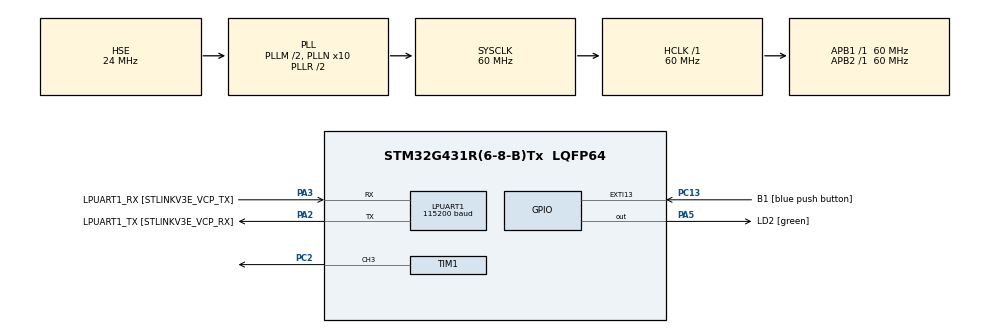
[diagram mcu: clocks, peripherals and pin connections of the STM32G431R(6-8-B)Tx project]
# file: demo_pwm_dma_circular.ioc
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Dma.Request0=TIM1_CH3
Dma.TIM1_CH3.0.Direction=DMA_MEMORY_TO_PERIPH
Dma.TIM1_CH3.0.EventEnable=DISABLE
Dma.TIM1_CH3.0.Instance=DMA1_Channel1
Dma.TIM1_CH3.0.MemDataAlignment=DMA_MDATAALIGN_BYTE
Dma.TIM1_CH3.0.MemInc=DMA_MINC_ENABLE
Dma.TIM1_CH3.0.Mode=DMA_CIRCULAR
Dma.TIM1_CH3.0.PeriphDataAlignment=DMA_PDATAALIGN_HALFWORD
Dma.TIM1_CH3.0.PeriphInc=DMA_PINC_DISABLE
Dma.TIM1_CH3.0.Polarity=HAL_DMAMUX_REQ_GEN_RISING
Dma.TIM1_CH3.0.Priority=DMA_PRIORITY_LOW
Dma.TIM1_CH3.0.RequestNumber=1
Dma.TIM1_CH3.0.SignalID=NONE
Dma.TIM1_CH3.0.SyncEnable=DISABLE
Dma.TIM1_CH3.0.SyncPolarity=HAL_DMAMUX_SYNC_NO_EVENT
Dma.TIM1_CH3.0.SyncRequestNumber=1
Dma.TIM1_CH3.0.SyncSignalID=NONE
FREERTOS.Tasks01=defaultTask,24,128,StartDefaultTask,Default,NULL,Dynamic,NULL,NULL;pwmLEDTask,8,128,pwmLedTask,Default,NULL,Dynamic,NULL,NULL
FREERTOS.configUSE_NEWLIB_REENTRANT=1
LPUART1.BaudRate=115200
LPUART1.WordLength=UART_WORDLENGTH_8B
Mcu.Family=STM32G4
Mcu.Name=STM32G431R(6-8-B)Tx
Mcu.Package=LQFP64
NVIC.DMA1_Channel1_IRQn=true\:5\:0\:false\:false\:true\:true\:false\:true
NVIC.EXTI15_10_IRQn=true\:5\:0\:false\:false\:true\:true\:true\:true
NVIC.PriorityGroup=NVIC_PRIORITYGROUP_4
NVIC.TIM6_DAC_IRQn=true\:15\:0\:false\:false\:true\:false\:false\:true
NVIC.TimeBase=TIM6_DAC_IRQn
NVIC.TimeBaseIP=TIM6
PA13.GPIO_Label=T_SWDIO
PA13.Mode=Serial_Wire
PA13.Signal=SYS_JTMS-SWDIO
PA14.GPIO_Label=T_SWCLK
PA14.Mode=Serial_Wire
PA14.Signal=SYS_JTCK-SWCLK
PA2.GPIO_Label=LPUART1_TX [STLINKV3E_VCP_RX]
PA2.Mode=Asynchronous
PA2.Signal=LPUART1_TX
PA3.GPIO_Label=LPUART1_RX [STLINKV3E_VCP_TX]
PA3.Mode=Asynchronous
PA3.Signal=LPUART1_RX
PA5.GPIO_Label=LD2 [green]
PA5.Signal=GPIO_Output
PB3.GPIO_Label=T_SWO
PB3.Signal=SYS_JTDO-SWO
PC13.GPIO_Label=B1 [blue push button]
PC13.Signal=GPXTI13
PC14-OSC32_IN.Mode=LSE-External-Oscillator
PC14-OSC32_IN.Signal=RCC_OSC32_IN
PC15-OSC32_OUT.Mode=LSE-External-Oscillator
PC15-OSC32_OUT.Signal=RCC_OSC32_OUT
PC2.Signal=S_TIM1_CH3
PF0-OSC_IN.Mode=HSE-External-Oscillator
PF0-OSC_IN.Signal=RCC_OSC_IN
PF1-OSC_OUT.Mode=HSE-External-Oscillator
PF1-OSC_OUT.Signal=RCC_OSC_OUT
ProjectManager.HeapSize=0x200
ProjectManager.StackSize=0x400
ProjectManager.TargetToolchain=STM32CubeIDE
RCC.ADC12Freq_Value=60000000
RCC.AHBFreq_Value=60000000
RCC.APB1Freq_Value=60000000
RCC.APB1TimFreq_Value=60000000
RCC.APB2Freq_Value=60000000
RCC.APB2TimFreq_Value=60000000
RCC.CortexFreq_Value=60000000
RCC.EXTERNAL_CLOCK_VALUE=12288000
RCC.HCLKFreq_Value=60000000
RCC.HSE_VALUE=24000000
RCC.HSI48_VALUE=48000000
RCC.HSI_VALUE=16000000
RCC.PLLM=RCC_PLLM_DIV2
RCC.PLLN=10
RCC.PLLSourceVirtual=RCC_PLLSOURCE_HSE
RCC.RTCClockSelection=RCC_RTCCLKSOURCE_LSE
RCC.SYSCLKFreq_VALUE=60000000
RCC.SYSCLKSource=RCC_SYSCLKSOURCE_PLLCLK
RCC.USBFreq_Value=60000000
RCC.VCOOutputFreq_Value=120000000
SH.S_TIM1_CH3.0=TIM1_CH3,PWM Generation3 CH3
TIM1.Channel-PWM\ Generation3\ CH3=TIM_CHANNEL_3
TIM1.PeriodNoDither=4
TIM1.Prescaler=14
VP_FREERTOS_VS_CMSIS_V2.Mode=CMSIS_V2
VP_SYS_VS_DBSignals.Mode=DisableDeadBatterySignals
VP_SYS_VS_tim6.Mode=TIM6
VP_TIM1_VS_ClockSourceINT.Mode=Internal
board=NUCLEO-G431RB

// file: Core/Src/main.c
/* USER CODE BEGIN Header */
/**
  ******************************************************************************
  * @file           : main.c
  * @brief          : Main program body
  ******************************************************************************
  * @attention
  *
  * Copyright (c) 2022 STMicroelectronics.
  * All rights reserved.
  *
  * This software is licensed under terms that can be found in the LICENSE file
  * in the root directory of this software component.
  * If no LICENSE file comes with this software, it is provided AS-IS.
  *
  ******************************************************************************
  */
/* USER CODE END Header */
#include "main.h"
#include "cmsis_os.h"

/* USER CODE BEGIN Includes */
#include <stdlib.h>

#include "pwm_dma_led.h"
#include "pwm_dma_task.h"
/* USER CODE END Includes */

UART_HandleTypeDef hlpuart1;

TIM_HandleTypeDef htim1;
DMA_HandleTypeDef hdma_tim1_ch3;

/* Definitions for defaultTask */
osThreadId_t defaultTaskHandle;
const osThreadAttr_t defaultTask_attributes = {
  .name = "defaultTask",
  .priority = (osPriority_t) osPriorityNormal,
  .stack_size = 128 * 4
};
/* Definitions for pwmLEDTask */
osThreadId_t pwmLEDTaskHandle;
const osThreadAttr_t pwmLEDTask_attributes = {
  .name = "pwmLEDTask",
  .priority = (osPriority_t) osPriorityLow,
  .stack_size = 128 * 4
};

void SystemClock_Config(void);
static void MX_GPIO_Init(void);
static void MX_LPUART1_UART_Init(void);
static void MX_DMA_Init(void);
static void MX_TIM1_Init(void);
void StartDefaultTask(void *argument);
void pwmLedTask(void *argument);

/* USER CODE BEGIN 0 */
#define LED_NUM 30
#define LED_COLORS_LEN LED_NUM*3
uint8_t led_colors[LED_COLORS_LEN];

/* USER CODE END 0 */

int main(void)
{

  /* MCU Configuration--------------------------------------------------------*/

  /* Reset of all peripherals, Initializes the Flash interface and the Systick. */
  HAL_Init();

  /* Configure the system clock */
  SystemClock_Config();

  /* Initialize all configured peripherals */
  MX_GPIO_Init();
  MX_LPUART1_UART_Init();
  MX_DMA_Init();
  MX_TIM1_Init();

  /* Init scheduler */
  osKernelInitialize();

  /* Create the thread(s) */
  /* creation of defaultTask */
  defaultTaskHandle = osThreadNew(StartDefaultTask, NULL, &defaultTask_attributes);

  /* creation of pwmLEDTask */
  pwmLEDTaskHandle = osThreadNew(pwmLedTask, NULL, &pwmLEDTask_attributes);

  /* Start scheduler */
  osKernelStart();

  /* We should never get here as control is now taken by the scheduler */
  /* Infinite loop */
  while (1)
  {

  }
}

void SystemClock_Config(void)
{
  RCC_OscInitTypeDef RCC_OscInitStruct = {0};
  RCC_ClkInitTypeDef RCC_ClkInitStruct = {0};

  /** Configure the main internal regulator output voltage
  */
  HAL_PWREx_ControlVoltageScaling(PWR_REGULATOR_VOLTAGE_SCALE1);
  /** Initializes the RCC Oscillators according to the specified parameters
  * in the RCC_OscInitTypeDef structure.
  */
  RCC_OscInitStruct.OscillatorType = RCC_OSCILLATORTYPE_HSE;
  RCC_OscInitStruct.HSEState = RCC_HSE_ON;
  RCC_OscInitStruct.PLL.PLLState = RCC_PLL_ON;
  RCC_OscInitStruct.PLL.PLLSource = RCC_PLLSOURCE_HSE;
  RCC_OscInitStruct.PLL.PLLM = RCC_PLLM_DIV2;
  RCC_OscInitStruct.PLL.PLLN = 10;
  RCC_OscInitStruct.PLL.PLLP = RCC_PLLP_DIV2;
  RCC_OscInitStruct.PLL.PLLQ = RCC_PLLQ_DIV2;
  RCC_OscInitStruct.PLL.PLLR = RCC_PLLR_DIV2;
  if (HAL_RCC_OscConfig(&RCC_OscInitStruct) != HAL_OK)
  {
    Error_Handler();
  }
  /** Initializes the CPU, AHB and APB buses clocks
  */
  RCC_ClkInitStruct.ClockType = RCC_CLOCKTYPE_HCLK|RCC_CLOCKTYPE_SYSCLK
                              |RCC_CLOCKTYPE_PCLK1|RCC_CLOCKTYPE_PCLK2;
  RCC_ClkInitStruct.SYSCLKSource = RCC_SYSCLKSOURCE_PLLCLK;
  RCC_ClkInitStruct.AHBCLKDivider = RCC_SYSCLK_DIV1;
  RCC_ClkInitStruct.APB1CLKDivider = RCC_HCLK_DIV1;
  RCC_ClkInitStruct.APB2CLKDivider = RCC_HCLK_DIV1;

  if (HAL_RCC_ClockConfig(&RCC_ClkInitStruct, FLASH_LATENCY_1) != HAL_OK)
  {
    Error_Handler();
  }
}

static void MX_LPUART1_UART_Init(void)
{

  hlpuart1.Instance = LPUART1;
  hlpuart1.Init.BaudRate = 115200;
  hlpuart1.Init.WordLength = UART_WORDLENGTH_8B;
  hlpuart1.Init.StopBits = UART_STOPBITS_1;
  hlpuart1.Init.Parity = UART_PARITY_NONE;
  hlpuart1.Init.Mode = UART_MODE_TX_RX;
  hlpuart1.Init.HwFlowCtl = UART_HWCONTROL_NONE;
  hlpuart1.Init.OneBitSampling = UART_ONE_BIT_SAMPLE_DISABLE;
  hlpuart1.Init.ClockPrescaler = UART_PRESCALER_DIV1;
  hlpuart1.AdvancedInit.AdvFeatureInit = UART_ADVFEATURE_NO_INIT;
  if (HAL_UART_Init(&hlpuart1) != HAL_OK)
  {
    Error_Handler();
  }
  if (HAL_UARTEx_SetTxFifoThreshold(&hlpuart1, UART_TXFIFO_THRESHOLD_1_8) != HAL_OK)
  {
    Error_Handler();
  }
  if (HAL_UARTEx_SetRxFifoThreshold(&hlpuart1, UART_RXFIFO_THRESHOLD_1_8) != HAL_OK)
  {
    Error_Handler();
  }
  if (HAL_UARTEx_DisableFifoMode(&hlpuart1) != HAL_OK)
  {
    Error_Handler();
  }

}

static void MX_TIM1_Init(void)
{

  TIM_ClockConfigTypeDef sClockSourceConfig = {0};
  TIM_MasterConfigTypeDef sMasterConfig = {0};
  TIM_OC_InitTypeDef sConfigOC = {0};
  TIM_BreakDeadTimeConfigTypeDef sBreakDeadTimeConfig = {0};

  htim1.Instance = TIM1;
  htim1.Init.Prescaler = 14;
  htim1.Init.CounterMode = TIM_COUNTERMODE_UP;
  htim1.Init.Period = 4;
  htim1.Init.ClockDivision = TIM_CLOCKDIVISION_DIV1;
  htim1.Init.RepetitionCounter = 0;
  htim1.Init.AutoReloadPreload = TIM_AUTORELOAD_PRELOAD_DISABLE;
  if (HAL_TIM_Base_Init(&htim1) != HAL_OK)
  {
    Error_Handler();
  }
  sClockSourceConfig.ClockSource = TIM_CLOCKSOURCE_INTERNAL;
  if (HAL_TIM_ConfigClockSource(&htim1, &sClockSourceConfig) != HAL_OK)
  {
    Error_Handler();
  }
  if (HAL_TIM_PWM_Init(&htim1) != HAL_OK)
  {
    Error_Handler();
  }
  sMasterConfig.MasterOutputTrigger = TIM_TRGO_RESET;
  sMasterConfig.MasterOutputTrigger2 = TIM_TRGO2_RESET;
  sMasterConfig.MasterSlaveMode = TIM_MASTERSLAVEMODE_DISABLE;
  if (HAL_TIMEx_MasterConfigSynchronization(&htim1, &sMasterConfig) != HAL_OK)
  {
    Error_Handler();
  }
  sConfigOC.OCMode = TIM_OCMODE_PWM1;
  sConfigOC.Pulse = 0;
  sConfigOC.OCPolarity = TIM_OCPOLARITY_HIGH;
  sConfigOC.OCNPolarity = TIM_OCNPOLARITY_HIGH;
  sConfigOC.OCFastMode = TIM_OCFAST_DISABLE;
  sConfigOC.OCIdleState = TIM_OCIDLESTATE_RESET;
  sConfigOC.OCNIdleState = TIM_OCNIDLESTATE_RESET;
  if (HAL_TIM_PWM_ConfigChannel(&htim1, &sConfigOC, TIM_CHANNEL_3) != HAL_OK)
  {
    Error_Handler();
  }
  sBreakDeadTimeConfig.OffStateRunMode = TIM_OSSR_DISABLE;
  sBreakDeadTimeConfig.OffStateIDLEMode = TIM_OSSI_DISABLE;
  sBreakDeadTimeConfig.LockLevel = TIM_LOCKLEVEL_OFF;
  sBreakDeadTimeConfig.DeadTime = 0;
  sBreakDeadTimeConfig.BreakState = TIM_BREAK_DISABLE;
  sBreakDeadTimeConfig.BreakPolarity = TIM_BREAKPOLARITY_HIGH;
  sBreakDeadTimeConfig.BreakFilter = 0;
  sBreakDeadTimeConfig.BreakAFMode = TIM_BREAK_AFMODE_INPUT;
  sBreakDeadTimeConfig.Break2State = TIM_BREAK2_DISABLE;
  sBreakDeadTimeConfig.Break2Polarity = TIM_BREAK2POLARITY_HIGH;
  sBreakDeadTimeConfig.Break2Filter = 0;
  sBreakDeadTimeConfig.Break2AFMode = TIM_BREAK_AFMODE_INPUT;
  sBreakDeadTimeConfig.AutomaticOutput = TIM_AUTOMATICOUTPUT_DISABLE;
  if (HAL_TIMEx_ConfigBreakDeadTime(&htim1, &sBreakDeadTimeConfig) != HAL_OK)
  {
    Error_Handler();
  }
  HAL_TIM_MspPostInit(&htim1);

}

static void MX_DMA_Init(void)
{

  /* DMA controller clock enable */
  __HAL_RCC_DMAMUX1_CLK_ENABLE();
  __HAL_RCC_DMA1_CLK_ENABLE();

  /* DMA interrupt init */
  /* DMA1_Channel1_IRQn interrupt configuration */
  HAL_NVIC_SetPriority(DMA1_Channel1_IRQn, 5, 0);
  HAL_NVIC_EnableIRQ(DMA1_Channel1_IRQn);

}

static void MX_GPIO_Init(void)
{
  GPIO_InitTypeDef GPIO_InitStruct = {0};

  /* GPIO Ports Clock Enable */
  __HAL_RCC_GPIOC_CLK_ENABLE();
  __HAL_RCC_GPIOF_CLK_ENABLE();
  __HAL_RCC_GPIOA_CLK_ENABLE();
  __HAL_RCC_GPIOB_CLK_ENABLE();

  /*Configure GPIO pin Output Level */
  HAL_GPIO_WritePin(LD2_GPIO_Port, LD2_Pin, GPIO_PIN_RESET);

  /*Configure GPIO pin : B1_Pin */
  GPIO_InitStruct.Pin = B1_Pin;
  GPIO_InitStruct.Mode = GPIO_MODE_IT_RISING;
  GPIO_InitStruct.Pull = GPIO_NOPULL;
  HAL_GPIO_Init(B1_GPIO_Port, &GPIO_InitStruct);

  /*Configure GPIO pin : LD2_Pin */
  GPIO_InitStruct.Pin = LD2_Pin;
  GPIO_InitStruct.Mode = GPIO_MODE_OUTPUT_PP;
  GPIO_InitStruct.Pull = GPIO_NOPULL;
  GPIO_InitStruct.Speed = GPIO_SPEED_FREQ_LOW;
  HAL_GPIO_Init(LD2_GPIO_Port, &GPIO_InitStruct);

  /* EXTI interrupt init*/
  HAL_NVIC_SetPriority(EXTI15_10_IRQn, 5, 0);
  HAL_NVIC_EnableIRQ(EXTI15_10_IRQn);

}

/* USER CODE BEGIN 4 */

void led_effect_change()
{

  uint8_t color[5][3] = {{0xFF,0xFF,0xFF},{0xFF,0x00,0x00},{0x00,0xFF,0x00},{0x00,0x00,0xFF},{0x00,0x00,0x00}};
  int effect_idx;
  int i,color_idx;
  uint8_t *p_colors = led_colors;
  srand(osKernelGetTickCount());
  effect_idx = rand() % 4 + 1;
  color_idx = rand() % 5;
  pwm_led_effect_stop(0,1,100);
  switch(effect_idx){
    case LED_EFFECT_ONCE:
          for(int i =0; i < LED_NUM; i++){
            p_colors[0] = color[color_idx][0];
            p_colors[1] = color[color_idx][1];
            p_colors[2] = color[color_idx][2];
            p_colors += 3;
          }
          pwm_led_effect_set(0,LED_EFFECT_ONCE,0,0,0);
          pwm_led_effect_start(0);
          break;
    case LED_EFFECT_MARQUEE:
        p_colors = led_colors;
        for( i =0; i < 2; i++){
            p_colors[0] = color[color_idx][0];
            p_colors[1] = color[color_idx][1];
            p_colors[2] = color[color_idx][2];
            p_colors += 3;
            color_idx ++;
            if (color_idx >= 5){
              color_idx = 0;;
            }
        }
        for( i = 2; i < LED_NUM; i++){
            p_colors[0] = 0;
            p_colors[1] = 0;
            p_colors[2] = 0;
            p_colors += 3;
        }
        pwm_led_effect_set(0,LED_EFFECT_MARQUEE,200,1,0);
        pwm_led_effect_start(0);
        break;
    case LED_EFFECT_BREATH:
        pwm_led_effect_set(0,LED_EFFECT_BREATH,200,1,0xFF0000);
        pwm_led_effect_start(0);
        break;
    case LED_EFFECT_WATER:
        pwm_led_effect_set(0,LED_EFFECT_WATER,200,1,0xFF0000);
        pwm_led_effect_start(0);
        break;
    default:
        break;
  }

}
uint8_t button_pressed = 0;
void HAL_GPIO_EXTI_Callback(uint16_t GPIO_Pin){
  if(GPIO_Pin == B1_Pin){
      button_pressed = 1;
  }
}
/* USER CODE END 4 */

void StartDefaultTask(void *argument)
{
  /* USER CODE BEGIN 5 */
  /* Infinite loop */
  pwm_dma_init(0,&htim1,TIM_CHANNEL_3,led_colors,LED_NUM,NULL);

  for(;;)
  {
//    led_effect_change();
    if (button_pressed){
      button_pressed = 0;
      led_effect_change();
    }
    osDelay(1);
  }
  /* USER CODE END 5 */
}

void pwmLedTask(void *argument)
{
  /* USER CODE BEGIN pwmLedTask */
  /* Infinite loop */
  for(;;)
  {
    pwm_led_run();
    osDelay(1);
  }
  /* USER CODE END pwmLedTask */
}

void HAL_TIM_PeriodElapsedCallback(TIM_HandleTypeDef *htim)
{
  if (htim->Instance == TIM6) {
    HAL_IncTick();
  }
}

void Error_Handler(void)
{
  __disable_irq();
  while (1)
  {
  }
}
